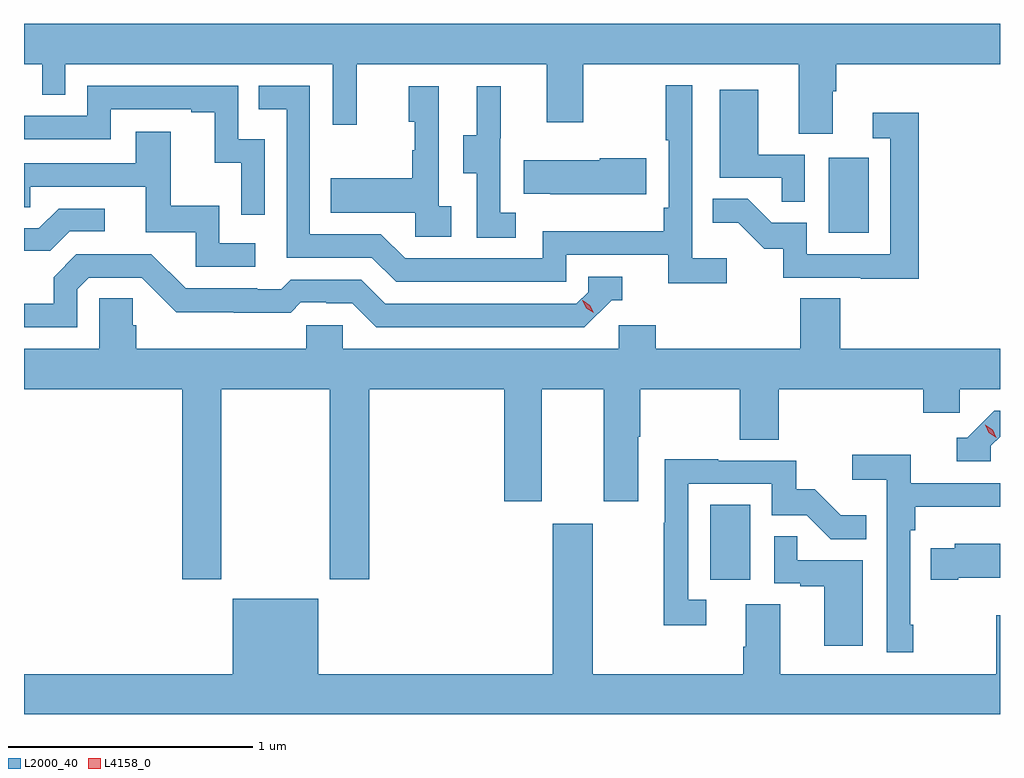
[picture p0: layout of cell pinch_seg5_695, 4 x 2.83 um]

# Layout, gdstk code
import gdstk
lib = gdstk.Library(unit=1e-6, precision=1e-09)
def R(c, l, rs):  # rectangles x0, y0, x1, y1
    for r in rs: c.add(gdstk.rectangle(r[:2], r[2:], *l))
def P(c, l, *ps):  # polygons
    for p in ps: c.add(gdstk.Polygon(p, *l))
L2000_40 = (2000, 40)
L4158_0 = (4158, 0)

pinch_seg5_695 = lib.new_cell('pinch_seg5_695')
R(pinch_seg5_695, L2000_40, [(1118.588,843.99,1118.752,844.297), (1119.074,845.412,1119.238,845.719)])
P(pinch_seg5_695, L2000_40, [(1115.776,846.104),(1115.85,846.104),(1115.85,845.977),(1115.946,845.977),(1115.946,846.104),(1117.041,846.104),(1117.041,845.856),(1117.139,845.856),(1117.139,846.104),(1117.919,846.104),(1117.919,845.865),(1118.067,845.865),(1118.067,846.104),(1118.951,846.104),(1118.951,845.818),(1119.091,845.818),(1119.091,845.992),(1119.104,845.992),(1119.104,846.104),(1119.776,846.104),(1119.776,846.268),(1115.776,846.268)],
  [(1118.656,845.308),(1118.514,845.308),(1118.514,846.016),(1118.406,846.016),(1118.406,845.791),(1118.418,845.791),(1118.418,845.515),(1118.398,845.515),(1118.398,845.419),(1117.902,845.419),(1117.902,845.307),(1117.338,845.307),(1117.239,845.406),(1116.948,845.406),(1116.948,846.015),(1116.739,846.015),(1116.739,845.919),(1116.852,845.919),(1116.852,845.31),(1117.202,845.31),(1117.301,845.211),(1117.998,845.211),(1117.998,845.322),(1118.417,845.322),(1118.417,845.206),(1118.656,845.206)],
  [(1116.762,845.796),(1116.654,845.796),(1116.654,846.015),(1116.036,846.015),(1116.036,845.892),(1115.776,845.892),(1115.776,845.796),(1116.132,845.796),(1116.132,845.919),(1116.461,845.919),(1116.461,845.907),(1116.557,845.907),(1116.557,845.699),(1116.666,845.699),(1116.666,845.487),(1116.762,845.487)],
  [(1117.528,845.522),(1117.476,845.522),(1117.476,846.013),(1117.352,846.013),(1117.352,845.868),(1117.378,845.868),(1117.378,845.75),(1117.368,845.75),(1117.368,845.635),(1117.033,845.635),(1117.033,845.495),(1117.38,845.495),(1117.38,845.397),(1117.528,845.397)],
  [(1117.792,845.495),(1117.728,845.495),(1117.728,845.799),(1117.73,845.799),(1117.73,846.013),(1117.631,846.013),(1117.631,845.811),(1117.577,845.811),(1117.577,845.656),(1117.632,845.656),(1117.632,845.392),(1117.792,845.392)],
  [(1118.976,845.733),(1118.785,845.733),(1118.785,845.998),(1118.627,845.998),(1118.627,845.637),(1118.881,845.637),(1118.881,845.539),(1118.976,845.539)],
  [(1119.443,845.905),(1119.255,845.905),(1119.255,845.799),(1119.327,845.799),(1119.327,845.325),(1118.985,845.325),(1118.985,845.454),(1118.841,845.454),(1118.743,845.552),(1118.599,845.552),(1118.599,845.453),(1118.703,845.453),(1118.81,845.346),(1118.887,845.346),(1118.887,845.229),(1119.205,845.229),(1119.205,845.224),(1119.443,845.224)],
  [(1116.724,845.37),(1116.576,845.37),(1116.576,845.524),(1116.377,845.524),(1116.377,845.827),(1116.233,845.827),(1116.233,845.697),(1115.776,845.697),(1115.776,845.517),(1115.801,845.517),(1115.801,845.601),(1116.275,845.601),(1116.275,845.415),(1116.48,845.415),(1116.48,845.274),(1116.724,845.274)],
  [(1118.326,845.718),(1118.135,845.718),(1118.135,845.71),(1117.825,845.71),(1117.825,845.573),(1117.933,845.573),(1117.933,845.57),(1118.326,845.57)],
  [(1115.964,845.418),(1116.106,845.418),(1116.106,845.511),(1115.918,845.511),(1115.837,845.43),(1115.776,845.43),(1115.776,845.338),(1115.884,845.338)],
  [(1115.994,845.181),(1116.042,845.229),(1116.258,845.229),(1116.4,845.087),(1116.636,845.087),(1116.636,845.085),(1116.869,845.085),(1116.911,845.127),(1117.014,845.127),(1117.014,845.124),(1117.121,845.124),(1117.22,845.025),(1118.073,845.025),(1118.184,845.136),(1118.227,845.136),(1118.227,845.232),(1118.088,845.232),(1118.088,845.169),(1118.04,845.121),(1117.257,845.121),(1117.158,845.22),(1116.869,845.22),(1116.83,845.181),(1116.731,845.181),(1116.731,845.184),(1116.438,845.184),(1116.297,845.325),(1115.991,845.325),(1115.897,845.231),(1115.897,845.121),(1115.776,845.121),(1115.776,845.025),(1115.994,845.025)],
  [(1118.71,844.564),(1118.87,844.564),(1118.87,844.772),(1119.461,844.772),(1119.461,844.674),(1119.612,844.674),(1119.612,844.772),(1119.776,844.772),(1119.776,844.936),(1119.122,844.936),(1119.122,845.144),(1118.957,845.144),(1118.957,844.936),(1118.366,844.936),(1118.366,845.034),(1118.214,845.034),(1118.214,844.936),(1117.083,844.936),(1117.083,845.034),(1116.933,845.034),(1116.933,844.936),(1116.236,844.936),(1116.236,845.034),(1116.221,845.034),(1116.221,845.144),(1116.084,845.144),(1116.084,844.936),(1115.776,844.936),(1115.776,844.772),(1116.425,844.772),(1116.425,843.993),(1116.585,843.993),(1116.585,844.772),(1117.03,844.772),(1117.03,843.993),(1117.19,843.993),(1117.19,844.772),(1117.745,844.772),(1117.745,844.311),(1117.897,844.311),(1117.897,844.772),(1118.153,844.772),(1118.153,844.311),(1118.293,844.311),(1118.293,844.576),(1118.301,844.576),(1118.301,844.772),(1118.71,844.772)],
  [(1119.738,844.539),(1119.776,844.577),(1119.776,844.683),(1119.753,844.683),(1119.642,844.572),(1119.599,844.572),(1119.599,844.476),(1119.738,844.476)],
  [(1119.421,843.805),(1119.408,843.805),(1119.408,844.193),(1119.428,844.193),(1119.428,844.289),(1119.776,844.289),(1119.776,844.386),(1119.41,844.386),(1119.41,844.502),(1119.171,844.502),(1119.171,844.4),(1119.312,844.4),(1119.312,843.693),(1119.421,843.693)],
  [(1118.572,843.909),(1118.499,843.909),(1118.499,844.383),(1118.841,844.383),(1118.841,844.254),(1118.985,844.254),(1119.083,844.156),(1119.227,844.156),(1119.227,844.255),(1119.123,844.255),(1119.016,844.362),(1118.94,844.362),(1118.94,844.479),(1118.621,844.479),(1118.621,844.484),(1118.403,844.484),(1118.403,844.223),(1118.398,844.223),(1118.398,843.804),(1118.572,843.804)],
  [(1119.776,843.844),(1119.76,843.844),(1119.76,843.604),(1118.875,843.604),(1118.875,843.89),(1118.735,843.89),(1118.735,843.716),(1118.723,843.716),(1118.723,843.604),(1118.107,843.604),(1118.107,844.219),(1117.943,844.219),(1117.943,843.604),(1116.982,843.604),(1116.982,843.913),(1116.632,843.913),(1116.632,843.604),(1115.776,843.604),(1115.776,843.44),(1119.776,843.44)],
  [(1119.214,844.071),(1118.945,844.071),(1118.945,844.169),(1118.85,844.169),(1118.85,843.975),(1118.957,843.975),(1118.957,843.963),(1119.056,843.963),(1119.056,843.72),(1119.214,843.72)],
  [(1119.604,843.998),(1119.776,843.998),(1119.776,844.138),(1119.591,844.138),(1119.591,844.12),(1119.493,844.12),(1119.493,843.991),(1119.604,843.991)])
P(pinch_seg5_695, L4158_0, [(1118.111,845.084),(1118.081,845.102),(1118.064,845.135),(1118.064,845.135),(1118.065,845.135),(1118.095,845.116),(1118.112,845.084),(1118.112,845.084)],
  [(1119.761,844.572),(1119.73,844.592),(1119.715,844.625),(1119.715,844.625),(1119.715,844.625),(1119.746,844.605),(1119.761,844.572),(1119.761,844.572)])

lib.write_gds('pinch_seg5_695.gds')
